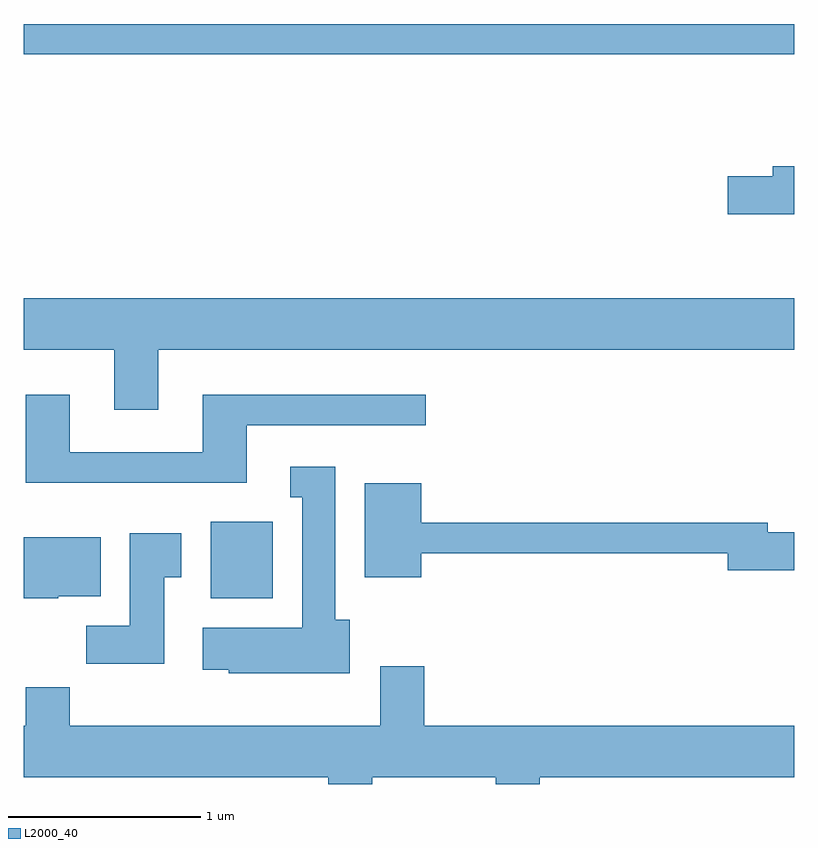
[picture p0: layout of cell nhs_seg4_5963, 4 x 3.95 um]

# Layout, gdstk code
import gdstk
lib = gdstk.Library(unit=1e-6, precision=1e-09)
def R(c, l, rs):  # rectangles x0, y0, x1, y1
    for r in rs: c.add(gdstk.rectangle(r[:2], r[2:], *l))
def P(c, l, *ps):  # polygons
    for p in ps: c.add(gdstk.Polygon(p, *l))
L2000_40 = (2000, 40)

nhs_seg4_5963 = lib.new_cell('nhs_seg4_5963')
R(nhs_seg4_5963, L2000_40, [(360.581,1348.946,360.904,1349.344), (359.611,1351.771,363.611,1351.929)])
P(nhs_seg4_5963, L2000_40, [(363.611,1351.189),(363.501,1351.189),(363.501,1351.139),(363.266,1351.139),(363.266,1350.941),(363.611,1350.941)],
  [(360.309,1350.236),(363.611,1350.236),(363.611,1350.504),(359.611,1350.504),(359.611,1350.236),(360.081,1350.236),(360.081,1349.926),(360.309,1349.926)],
  [(360.769,1349.846),(361.698,1349.846),(361.698,1350.004),(360.541,1350.004),(360.541,1349.704),(359.849,1349.704),(359.849,1350.004),(359.621,1350.004),(359.621,1349.546),(360.769,1349.546)],
  [(361.304,1348.834),(361.229,1348.834),(361.229,1349.629),(360.993,1349.629),(360.993,1349.471),(361.056,1349.471),(361.056,1348.794),(360.541,1348.794),(360.541,1348.576),(360.676,1348.576),(360.676,1348.556),(361.304,1348.556)],
  [(361.674,1349.181),(363.266,1349.181),(363.266,1349.091),(363.611,1349.091),(363.611,1349.289),(363.474,1349.289),(363.474,1349.339),(361.674,1349.339),(361.674,1349.544),(361.381,1349.544),(361.381,1349.056),(361.674,1349.056)],
  [(360.339,1349.056),(360.429,1349.056),(360.429,1349.284),(360.161,1349.284),(360.161,1348.804),(359.936,1348.804),(359.936,1348.606),(360.339,1348.606)],
  [(359.79,1348.956),(360.009,1348.956),(360.009,1349.264),(359.611,1349.264),(359.611,1348.946),(359.79,1348.946)],
  [(361.419,1348.016),(362.061,1348.016),(362.061,1347.982),(362.289,1347.982),(362.289,1348.016),(363.611,1348.016),(363.611,1348.284),(361.689,1348.284),(361.689,1348.594),(361.461,1348.594),(361.461,1348.284),(359.849,1348.284),(359.849,1348.484),(359.621,1348.484),(359.621,1348.284),(359.611,1348.284),(359.611,1348.016),(361.191,1348.016),(361.191,1347.982),(361.419,1347.982)])

lib.write_gds('nhs_seg4_5963.gds')
